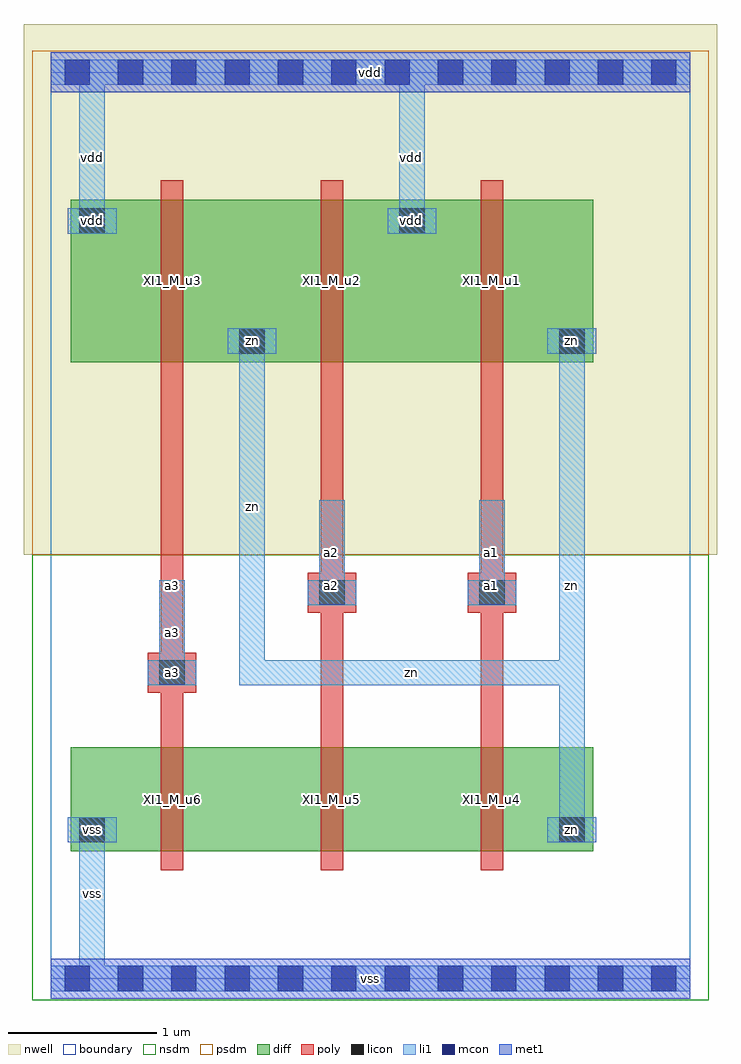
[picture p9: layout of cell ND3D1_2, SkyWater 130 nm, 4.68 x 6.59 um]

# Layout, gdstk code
import gdstk
lib = gdstk.Library(unit=1e-6, precision=1e-09)
def R(c, l, rs):  # rectangles x0, y0, x1, y1
    for r in rs: c.add(gdstk.rectangle(r[:2], r[2:], *l))
def A(c, l, x, y, w, h, nx, ny, dx, dy):  # array of equal rectangles
    R(c, l, [(x+i*dx, y+j*dy, x+i*dx+w, y+j*dy+h) for i in range(nx) for j in range(ny)])
L0_0 = (0, 0)
nwell = (64, 20)
diff = (65, 20)
poly = (66, 20)
licon = (66, 44)
li1 = (67, 20)
mcon = (67, 44)
met1 = (68, 20)
nsdm = (93, 44)
psdm = (94, 20)
boundary = (235, 4)

nd3d1_2 = lib.new_cell('ND3D1_2')
R(nd3d1_2, nwell, [(-0.18,2.86,4.5,6.445)])
A(nd3d1_2, diff, 0.135, 0.86, 1.37, 0.7, 3, 1, 1.08, 0)
A(nd3d1_2, diff, 0.135, 4.16, 1.37, 1.1, 3, 1, 1.08, 0)
R(nd3d1_2, diff, [(0.135,0.86,0.425,1.15), (3.375,0.86,3.665,1.15), (1.215,4.16,1.505,4.45), (3.375,4.16,3.665,4.45), (0.135,4.97,0.425,5.26), (2.295,4.97,2.585,5.26)])
A(nd3d1_2, poly, 0.745, 0.73, 0.15, 0.96, 3, 1, 1.08, 0)
A(nd3d1_2, poly, 0.745, 0.93, 0.15, 3.45, 3, 1, 1.08, 0)
A(nd3d1_2, poly, 0.745, 4.03, 0.15, 1.36, 3, 1, 1.08, 0)
R(nd3d1_2, poly, [(0.655,1.93,0.985,2.2), (1.735,2.47,2.065,2.74), (2.815,2.47,3.145,2.74)])
R(nd3d1_2, licon, [(0.195,0.92,0.365,1.09), (3.435,0.92,3.605,1.09), (0.735,1.98,0.905,2.15), (1.815,2.52,1.985,2.69), (2.895,2.52,3.065,2.69), (1.275,4.22,1.445,4.39), (3.435,4.22,3.605,4.39), (0.195,5.03,0.365,5.2), (2.355,5.03,2.525,5.2)])
R(nd3d1_2, li1, [(0,-0.085,4.32,0.085), (0.195,0.06,0.365,1.09), (0.115,0.92,0.445,1.09), (3.355,0.92,3.685,1.09), (3.435,0.92,3.605,4.39), (0.655,1.98,0.985,2.15), (0.735,1.98,0.905,2.69), (1.275,1.98,1.445,4.39), (1.275,1.98,3.605,2.15), (1.735,2.52,2.065,2.69), (1.815,2.52,1.985,3.23), (2.815,2.52,3.145,2.69), (2.895,2.52,3.065,3.23), (1.195,4.22,1.525,4.39), (3.355,4.22,3.685,4.39), (0.115,5.03,0.445,5.2), (0.195,5.03,0.365,6.06), (2.275,5.03,2.605,5.2), (2.355,5.03,2.525,6.06), (0,6.035,4.32,6.205)])
A(nd3d1_2, mcon, 0.095, -0.085, 0.17, 0.17, 12, 2, 0.36, 6.12)
R(nd3d1_2, met1, [(0,-0.135,4.32,0.135), (0,5.985,4.32,6.255)])
R(nd3d1_2, nsdm, [(-0.125,-0.145,4.445,0.145), (-0.125,0.145,4.445,2.86)])
R(nd3d1_2, psdm, [(-0.125,2.86,4.445,5.975), (-0.125,5.975,4.445,6.265)])
R(nd3d1_2, boundary, [(0,0,4.32,6.12)])
nd3d1_2.add(gdstk.FlexPath([(0.115,0.355),(3.685,0.355)], 0, ends="flush", simple_path=True, layer=0, datatype=0))  # L0_0
nd3d1_2.add(gdstk.FlexPath([(0.115,1.005),(3.685,1.005)], 0, ends="flush", simple_path=True, layer=0, datatype=0))  # L0_0
nd3d1_2.add(gdstk.FlexPath([(0.115,1.415),(3.685,1.415)], 0, ends="flush", simple_path=True, layer=0, datatype=0))  # L0_0
nd3d1_2.add(gdstk.FlexPath([(0.115,2.065),(3.685,2.065)], 0, ends="flush", simple_path=True, layer=0, datatype=0))  # L0_0
nd3d1_2.add(gdstk.FlexPath([(0.115,2.605),(3.685,2.605)], 0, ends="flush", simple_path=True, layer=0, datatype=0))  # L0_0
nd3d1_2.add(gdstk.FlexPath([(0.115,3.145),(3.685,3.145)], 0, ends="flush", simple_path=True, layer=0, datatype=0))  # L0_0
nd3d1_2.add(gdstk.FlexPath([(0.115,4.305),(3.685,4.305)], 0, ends="flush", simple_path=True, layer=0, datatype=0))  # L0_0
nd3d1_2.add(gdstk.FlexPath([(0.115,4.775),(3.685,4.775)], 0, ends="flush", simple_path=True, layer=0, datatype=0))  # L0_0
nd3d1_2.add(gdstk.FlexPath([(0.115,5.115),(3.685,5.115)], 0, ends="flush", simple_path=True, layer=0, datatype=0))  # L0_0
nd3d1_2.add(gdstk.FlexPath([(0.115,5.765),(3.685,5.765)], 0, ends="flush", simple_path=True, layer=0, datatype=0))  # L0_0
nd3d1_2.add(gdstk.FlexPath([(0.28,0.06),(0.28,6.06)], 0, ends="flush", simple_path=True, layer=0, datatype=0))  # L0_0
nd3d1_2.add(gdstk.FlexPath([(0.82,0.06),(0.82,6.06)], 0, ends="flush", simple_path=True, layer=0, datatype=0))  # L0_0
nd3d1_2.add(gdstk.FlexPath([(1.36,0.06),(1.36,6.06)], 0, ends="flush", simple_path=True, layer=0, datatype=0))  # L0_0
nd3d1_2.add(gdstk.FlexPath([(1.9,0.06),(1.9,6.06)], 0, ends="flush", simple_path=True, layer=0, datatype=0))  # L0_0
nd3d1_2.add(gdstk.FlexPath([(2.44,0.06),(2.44,6.06)], 0, ends="flush", simple_path=True, layer=0, datatype=0))  # L0_0
nd3d1_2.add(gdstk.FlexPath([(2.98,0.06),(2.98,6.06)], 0, ends="flush", simple_path=True, layer=0, datatype=0))  # L0_0
nd3d1_2.add(gdstk.FlexPath([(3.52,0.06),(3.52,6.06)], 0, ends="flush", simple_path=True, layer=0, datatype=0))  # L0_0
nd3d1_2.add(gdstk.Label('XI1_M_u4', (2.98,1.21), layer=65, texttype=20))
nd3d1_2.add(gdstk.Label('XI1_M_u5', (1.9,1.21), layer=65, texttype=20))
nd3d1_2.add(gdstk.Label('XI1_M_u6', (0.82,1.21), layer=65, texttype=20))
nd3d1_2.add(gdstk.Label('XI1_M_u3', (0.82,4.71), layer=65, texttype=20))
nd3d1_2.add(gdstk.Label('XI1_M_u1', (2.98,4.71), layer=65, texttype=20))
nd3d1_2.add(gdstk.Label('XI1_M_u2', (1.9,4.71), layer=65, texttype=20))
nd3d1_2.add(gdstk.Label('zn', (3.52,1.005), layer=65, texttype=20))
nd3d1_2.add(gdstk.Label('zn', (1.36,4.305), layer=65, texttype=20))
nd3d1_2.add(gdstk.Label('zn', (3.52,4.305), layer=65, texttype=20))
nd3d1_2.add(gdstk.Label('vss', (0.28,1.005), layer=65, texttype=20))
nd3d1_2.add(gdstk.Label('vdd', (0.28,5.115), layer=65, texttype=20))
nd3d1_2.add(gdstk.Label('vdd', (2.44,5.115), layer=65, texttype=20))
nd3d1_2.add(gdstk.Label('a1', (2.98,2.655), layer=66, texttype=20))
nd3d1_2.add(gdstk.Label('a1', (2.98,2.605), layer=66, texttype=20))
nd3d1_2.add(gdstk.Label('a2', (1.9,2.655), layer=66, texttype=20))
nd3d1_2.add(gdstk.Label('a2', (1.9,2.605), layer=66, texttype=20))
nd3d1_2.add(gdstk.Label('a3', (0.82,2.655), layer=66, texttype=20))
nd3d1_2.add(gdstk.Label('a3', (0.82,2.065), layer=66, texttype=20))
nd3d1_2.add(gdstk.Label('zn', (3.52,1.005), layer=66, texttype=44))
nd3d1_2.add(gdstk.Label('zn', (1.36,4.305), layer=66, texttype=44))
nd3d1_2.add(gdstk.Label('zn', (3.52,4.305), layer=66, texttype=44))
nd3d1_2.add(gdstk.Label('a1', (2.98,2.605), layer=66, texttype=44))
nd3d1_2.add(gdstk.Label('a2', (1.9,2.605), layer=66, texttype=44))
nd3d1_2.add(gdstk.Label('a3', (0.82,2.065), layer=66, texttype=44))
nd3d1_2.add(gdstk.Label('vss', (0.28,1.005), layer=66, texttype=44))
nd3d1_2.add(gdstk.Label('vdd', (0.28,5.115), layer=66, texttype=44))
nd3d1_2.add(gdstk.Label('vdd', (2.44,5.115), layer=66, texttype=44))
nd3d1_2.add(gdstk.Label('zn', (3.52,1.005), layer=67, texttype=16))
nd3d1_2.add(gdstk.Label('zn', (1.36,4.305), layer=67, texttype=16))
nd3d1_2.add(gdstk.Label('zn', (3.52,4.305), layer=67, texttype=16))
nd3d1_2.add(gdstk.Label('zn', (3.52,2.655), layer=67, texttype=16))
nd3d1_2.add(gdstk.Label('zn', (1.36,3.185), layer=67, texttype=16))
nd3d1_2.add(gdstk.Label('zn', (2.44,2.065), layer=67, texttype=16))
nd3d1_2.add(gdstk.Label('a1', (2.98,2.605), layer=67, texttype=16))
nd3d1_2.add(gdstk.Label('a1', (2.98,2.875), layer=67, texttype=16))
nd3d1_2.add(gdstk.Label('a2', (1.9,2.605), layer=67, texttype=16))
nd3d1_2.add(gdstk.Label('a2', (1.9,2.875), layer=67, texttype=16))
nd3d1_2.add(gdstk.Label('a3', (0.82,2.065), layer=67, texttype=16))
nd3d1_2.add(gdstk.Label('a3', (0.82,2.335), layer=67, texttype=16))
nd3d1_2.add(gdstk.Label('vss', (0.28,1.005), layer=67, texttype=20))
nd3d1_2.add(gdstk.Label('vss', (0.28,0.575), layer=67, texttype=20))
nd3d1_2.add(gdstk.Label('vdd', (0.28,5.115), layer=67, texttype=20))
nd3d1_2.add(gdstk.Label('vdd', (0.28,5.545), layer=67, texttype=20))
nd3d1_2.add(gdstk.Label('vdd', (2.44,5.115), layer=67, texttype=20))
nd3d1_2.add(gdstk.Label('vdd', (2.44,5.545), layer=67, texttype=20))
nd3d1_2.add(gdstk.Label('vss', (2.16,0), layer=67, texttype=16))
nd3d1_2.add(gdstk.Label('vdd', (2.16,6.12), layer=67, texttype=16))
nd3d1_2.add(gdstk.Label('vss', (2.16,0), layer=68, texttype=16))
nd3d1_2.add(gdstk.Label('vdd', (2.16,6.12), layer=68, texttype=16))

lib.write_gds('ND3D1_2.gds')
